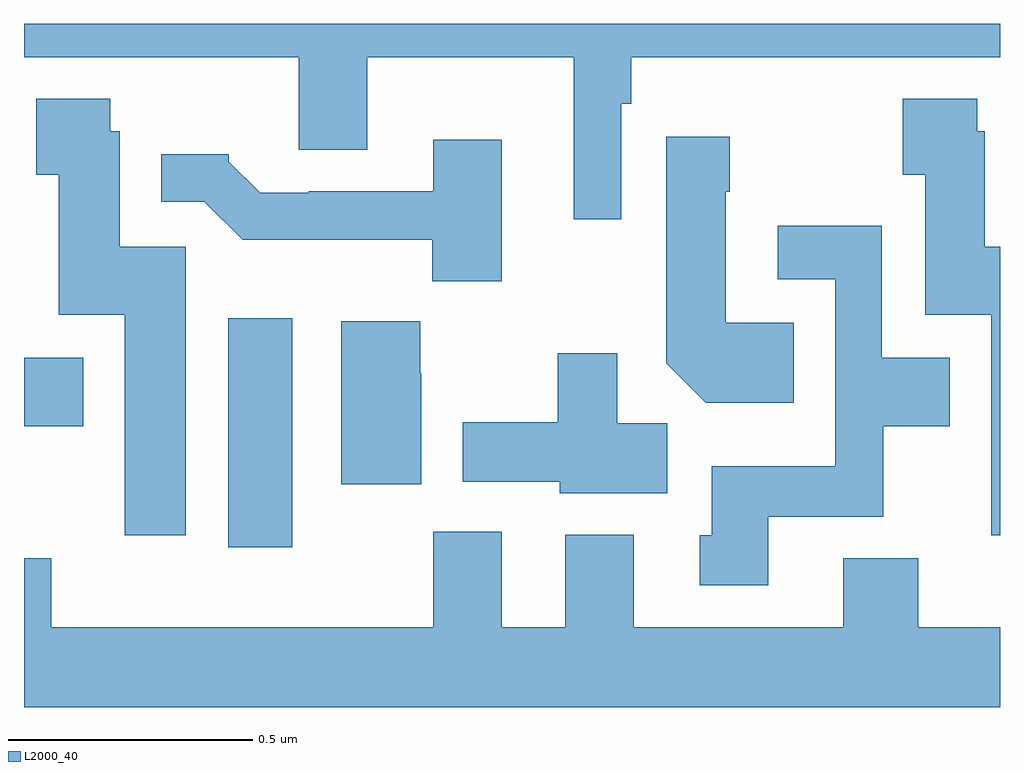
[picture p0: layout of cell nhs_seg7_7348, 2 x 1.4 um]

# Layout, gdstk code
import gdstk
lib = gdstk.Library(unit=1e-6, precision=1e-09)
def R(c, l, rs):  # rectangles x0, y0, x1, y1
    for r in rs: c.add(gdstk.rectangle(r[:2], r[2:], *l))
def P(c, l, *ps):  # polygons
    for p in ps: c.add(gdstk.Polygon(p, *l))
L2000_40 = (2000, 40)

nhs_seg7_7348 = lib.new_cell('nhs_seg7_7348')
R(nhs_seg7_7348, L2000_40, [(210.419,1016.928,210.55,1017.397), (210,1017.176,210.121,1017.316)])
P(nhs_seg7_7348, L2000_40, [(211.224,1017.836),(211.244,1017.836),(211.244,1017.932),(212,1017.932),(212,1018),(210,1018),(210,1017.932),(210.563,1017.932),(210.563,1017.742),(210.703,1017.742),(210.703,1017.932),(211.127,1017.932),(211.127,1017.6),(211.224,1017.6)],
  [(212,1017.543),(211.969,1017.543),(211.969,1017.78),(211.953,1017.78),(211.953,1017.847),(211.801,1017.847),(211.801,1017.691),(211.847,1017.691),(211.847,1017.404),(211.982,1017.404),(211.982,1016.952),(212,1016.952)],
  [(210.331,1017.543),(210.196,1017.543),(210.196,1017.78),(210.177,1017.78),(210.177,1017.847),(210.025,1017.847),(210.025,1017.691),(210.071,1017.691),(210.071,1017.404),(210.206,1017.404),(210.206,1016.952),(210.331,1016.952)],
  [(211.577,1017.388),(211.438,1017.388),(211.438,1017.656),(211.446,1017.656),(211.446,1017.769),(211.316,1017.769),(211.316,1017.305),(211.397,1017.224),(211.577,1017.224)],
  [(210.979,1017.763),(210.839,1017.763),(210.839,1017.657),(210.583,1017.657),(210.583,1017.654),(210.484,1017.654),(210.42,1017.718),(210.42,1017.733),(210.281,1017.733),(210.281,1017.636),(210.369,1017.636),(210.448,1017.558),(210.837,1017.558),(210.837,1017.473),(210.979,1017.473)],
  [(211.525,1016.99),(211.761,1016.99),(211.761,1017.176),(211.897,1017.176),(211.897,1017.316),(211.758,1017.316),(211.758,1017.586),(211.545,1017.586),(211.545,1017.477),(211.662,1017.477),(211.662,1017.094),(211.409,1017.094),(211.409,1016.952),(211.385,1016.952),(211.385,1016.85),(211.525,1016.85)],
  [(210.814,1017.284),(210.812,1017.284),(210.812,1017.391),(210.65,1017.391),(210.65,1017.057),(210.814,1017.057)],
  [(211.318,1017.182),(211.216,1017.182),(211.216,1017.325),(211.094,1017.325),(211.094,1017.184),(210.899,1017.184),(210.899,1017.062),(211.098,1017.062),(211.098,1017.038),(211.318,1017.038)],
  [(210,1016.905),(210,1016.6),(212,1016.6),(212,1016.764),(211.832,1016.764),(211.832,1016.905),(211.679,1016.905),(211.679,1016.764),(211.249,1016.764),(211.249,1016.953),(211.109,1016.953),(211.109,1016.764),(210.979,1016.764),(210.979,1016.959),(210.839,1016.959),(210.839,1016.764),(210.056,1016.764),(210.056,1016.905)])

lib.write_gds('nhs_seg7_7348.gds')
